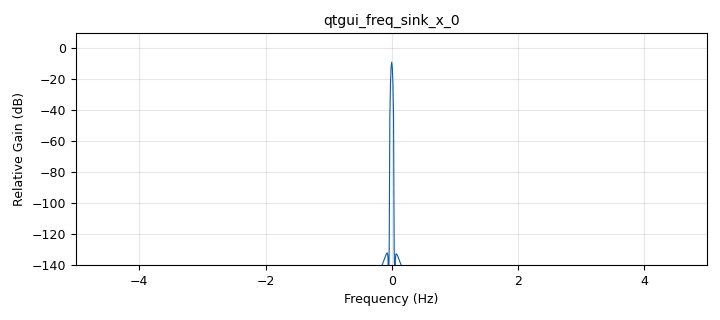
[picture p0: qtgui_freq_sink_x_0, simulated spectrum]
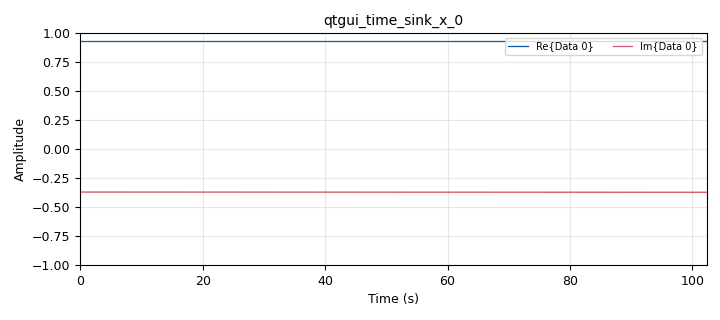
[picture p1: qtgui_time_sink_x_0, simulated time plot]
options:
  parameters:
    author: army
    generate_options: qt_gui
    id: test
    output_language: python
    title: Not titled yet
  states: {}

blocks:
- name: rr
  id: variable_qtgui_range
  parameters:
    start: '0'
    step: '1'
    stop: '100'
    value: '50'
  states: {}
- name: samp_rate
  id: variable
  parameters:
    value: '10'
  states: {}
- name: analog_sig_source_x_0
  id: analog_sig_source_x
  parameters:
    amp: '1'
    freq: rr
    offset: '0'
    phase: '0'
    samp_rate: samp_rate
    type: complex
    waveform: analog.GR_COS_WAVE
  states: {}
- name: blocks_file_sink_0
  id: blocks_file_sink
  parameters:
    file: /home/army/Desktop/usrp.iq
    type: complex
  states: {}
- name: blocks_throttle_0
  id: blocks_throttle
  parameters:
    samples_per_second: samp_rate
    type: complex
  states: {}
- name: qtgui_freq_sink_x_0
  id: qtgui_freq_sink_x
  parameters:
    bw: samp_rate
    fc: '0'
    fftsize: '1024'
    type: complex
  states: {}
- name: qtgui_time_sink_x_0
  id: qtgui_time_sink_x
  parameters:
    size: '1024'
    srate: samp_rate
    type: complex
  states: {}

connections:
- [analog_sig_source_x_0, '0', blocks_throttle_0, '0']
- [blocks_throttle_0, '0', blocks_file_sink_0, '0']
- [blocks_throttle_0, '0', qtgui_freq_sink_x_0, '0']
- [blocks_throttle_0, '0', qtgui_time_sink_x_0, '0']

metadata:
  file_format: 1
